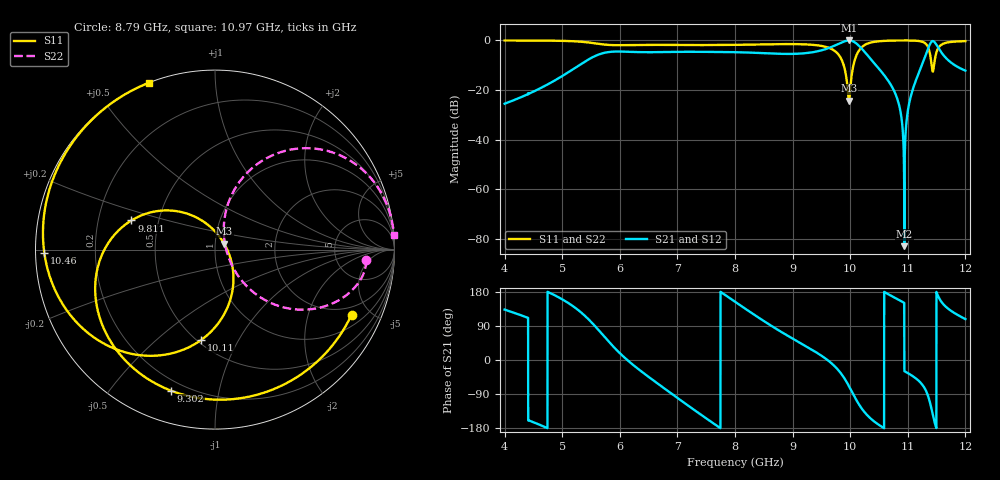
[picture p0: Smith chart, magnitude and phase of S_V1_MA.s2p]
! TOUCHSTONE file generated by CST MICROWAVE STUDIO
! Date and time: Wed Jan 22 20:09:13 2025
! Project name: NUEVA_TRANSICION_CORTO.cst
! Parameters = {DespTor=4.318; H=17; Hcono=2.59394; Hstep1=13.4144; Hstep2=6.31893; Hstep3=0; Htuerca=0.1; L=55; Lback=11; Ldielectrico=9.525; Lstep1=12.9914; Lstep2=10.8318; Lstep3=9.99957; Ltor=4; Nsegments=0; Ragujero=1.4615; Rcono1=4.39874; Rcono2=2.78582; Rext=2.055; Rint=0.635; Rtor=1.275; Rtu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
! Header version: 2018
! Port assignment regex: !\s*Touchstone port\s*([0-9]+)\s*=\s*(CST MWS port|CST DS port)\s*([0-9]+|Zmin|Zmax)\s*\(\"(.*)\"\)(\s*mode\s*([0-9]+))?.*
! Touchstone port assignment:
! Touchstone port 1 = CST MWS port 1 ("")
! Touchstone port 2 = CST MWS port 2 ("")
# GHz S MA R 50
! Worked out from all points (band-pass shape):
!   5002 points, 4 GHz to 12 GHz, reference 50 ohm
!   highest |S21| = -0.02 dB at 9.978 GHz (marker M1); lowest = -83.1 dB at 10.94 GHz (marker M2)
!   |S21| within 3 dB of the highest: 9.632 GHz to 10.19 GHz (556.8 MHz wide, 5.62 % of centre); 11.36 GHz to 11.53 GHz (175 MHz wide, 1.53 % of centre)
!   lowest |S11| = -24.3 dB at 9.978 GHz (marker M3), VSWR 1.13, Z = 55.3 + j3.59 ohm
!   |S11| at or under -10 dB: 9.887 GHz to 10.06 GHz (169 MHz wide, 1.69 % of centre); 11.41412 GHz to 11.45516 GHz (41.04 MHz wide, 0.359 % of centre)
!   |S22| runs from -24.3 to 0.0 dB; largest |S21 - S12| = 0.17
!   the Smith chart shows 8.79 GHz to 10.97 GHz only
!   S11 on the Smith chart (normalised r, x): 8.79 GHz: 1.54, -3.85; 9.302 GHz: 0.15, -0.72; 9.811 GHz: 0.35, +0.15; 10.11 GHz: 0.52, -0.71; 10.46 GHz: 0.02, -0.01; 10.97 GHz: 0.00, +0.68
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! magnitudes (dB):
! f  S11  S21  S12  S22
! 4 GHz  0.0  -25.5  -25.5  0.0
! 5.334 GHz  -0.5  -9.4  -9.4  -0.5
! 5.792 GHz  -1.8  -4.7  -4.7  -1.8
! 6.667 GHz  -1.8  -4.7  -4.7  -1.8
! 8 GHz  -1.8  -4.7  -4.7  -1.8
! 8.79 GHz  -1.5  -5.4  -5.4  -1.5
! 9.302 GHz  -1.7  -4.9  -4.9  -1.7
! 9.334 GHz  -1.7  -4.8  -4.8  -1.7
! 9.811 GHz  -6.1  -1.2  -1.2  -6.1
! 9.978 GHz  -24.3  0.0  0.0  -24.3
! 10.11 GHz  -5.8  -1.3  -1.3  -5.8
! 10.46 GHz  -0.4  -10.2  -10.2  -0.4
! 10.67 GHz  -0.1  -16.5  -16.5  -0.1
! 10.84 GHz  0.0  -25.3  -25.3  0.0
! 10.94 GHz  0.0  -83.1  -83.1  0.0
! 10.97 GHz  0.0  -34.8  -34.8  0.0
! 11 GHz  0.0  -28.3  -28.3  0.0
! 11.07 GHz  0.0  -21.4  -21.4  0.0
! 11.31 GHz  -1.3  -5.9  -5.9  -1.3
! 11.41 GHz  -8.8  -0.6  -0.6  -8.8
! 11.6 GHz  -1.5  -5.3  -5.3  -1.5
! 12 GHz  -0.3  -12.2  -12.2  -0.3
